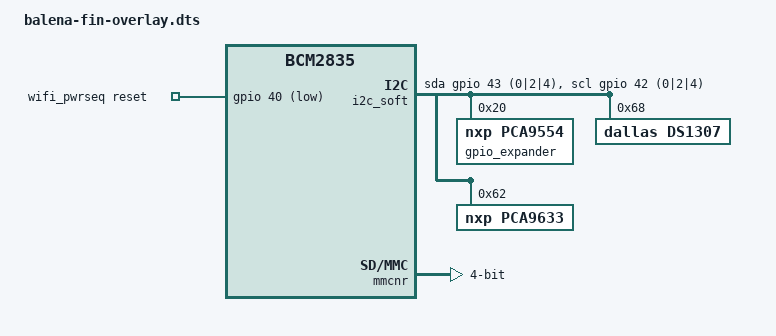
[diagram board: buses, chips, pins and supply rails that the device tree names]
/dts-v1/;
/plugin/;

/{
	compatible = "brcm,bcm2835";

	fragment@0 {
		target = <&mmcnr>;
		__overlay__ {
			pinctrl-names = "default";
			pinctrl-0 = <&sdio_pins>;
			bus-width = <4>;
			brcm,overclock-50 = <35>;
			mmc-pwrseq = <&wifi_pwrseq>;
			status = "okay";
		};
	};

	fragment@1 {
		target = <&gpio>;
		__overlay__ {
			sdio_pins: sdio_pins {
				brcm,pins = <34 35 36 37 38 39>;
				brcm,function = <7>; /* ALT3 = SD1 */
				brcm,pull = <0 2 2 2 2 2>;
			};

			power_ctrl_pins: power_ctrl_pins {
				brcm,pins = <40>;
				brcm,function = <1>; // out
				output-low;
			};
		};
	};

	fragment@2 {
		target-path = "/";
		__overlay__ {
			wifi_pwrseq: wifi_pwrseq {
				compatible = "mmc-pwrseq-simple";
				reset-gpios = <&gpio 40 1>; /* GPIO_ACTIVE_LOW */
			};

			i2c_soft: i2c@0 {
				compatible = "i2c-gpio";
				gpios = <&gpio 43 (0|2|4) /* sda GPIO_ACTIVE_HIGH|GPIO_OPEN_DRAIN */
				         &gpio 42 (0|2|4) /* scl GPIO_ACTIVE_HIGH|GPIO_OPEN_DRAIN */>;
				i2c-gpio,delay-us = <5>;
				i2c-gpio,scl-open-drain;
				i2c-gpio,sda-open-drain;
				#address-cells = <1>;
				#size-cells = <0>;
			};

			sd8xxx: sd8xxx-wlan {
				drvdbg = <0x6>;
				drv_mode = <0x3>;
				cfg80211_wext = <0xf>;
				sta_name = "wlan";
				wfd_name = "p2p";
				cal_data_cfg = "none";
			};
		};
	};

	fragment@3 {
		target = <&i2c_soft>;
		__overlay__ {
			#address-cells = <1>;
			#size-cells = <0>;
			status = "okay";

			gpio_expander: gpio_expander@20 {
				compatible = "nxp,pca9554";
				gpio-controller;
				#gpio-cells = <2>;
				reg = <0x20>;
				status = "okay";
			};

			// rtc clock
			ds1307: ds1307@68 {
				compatible = "dallas,ds1307";
				reg = <0x68>;
				status = "okay";
			};

			// RGB LEDs (>= v1.1.0)
			pca9633: pca9633@62 {
				compatible = "nxp,pca9633";
				reg = <0x62>;
				#address-cells = <1>;
				#size-cells = <0>;

				red@0 {
					label = "red";
					reg = <0>;
					linux,default-trigger = "none";
				};
				green@1 {
					label = "green";
					reg = <1>;
					linux,default-trigger = "none";
				};
				blue@2 {
					label = "blue";
					reg = <2>;
					linux,default-trigger = "none";
				};
				unused@3 {
					label = "unused";
					reg = <3>;
					linux,default-trigger = "none";
				};
			};
		};
	};

	__overrides__ {
		wifi_mode       = <&sd8xxx>,"drv_mode:0";
		wifi_dbg        = <&sd8xxx>,"drvdbg:0";
	};
};
